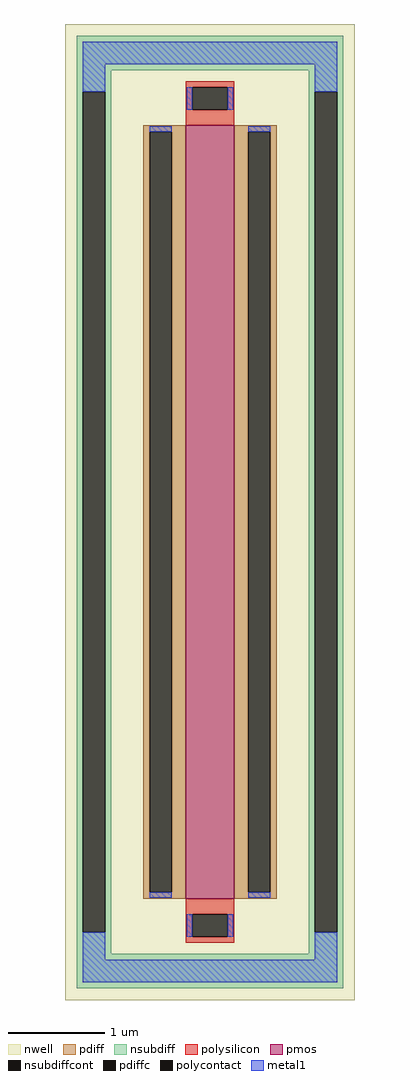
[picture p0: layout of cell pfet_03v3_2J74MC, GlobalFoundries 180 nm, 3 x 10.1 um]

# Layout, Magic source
magic
tech gf180mcuD
magscale 1 10
<< nwell >>
rect -300 -1010 300 1010
<< pmos >>
rect -50 -800 50 800
<< pdiff >>
rect -138 787 -50 800
rect -138 -787 -125 787
rect -79 -787 -50 787
rect -138 -800 -50 -787
rect 50 787 138 800
rect 50 -787 79 787
rect 125 -787 138 787
rect 50 -800 138 -787
<< pdiffc >>
rect -125 -787 -79 787
rect 79 -787 125 787
<< nsubdiff >>
rect -276 914 276 986
rect -276 870 -204 914
rect -276 -870 -263 870
rect -217 -870 -204 870
rect 204 870 276 914
rect -276 -914 -204 -870
rect 204 -870 217 870
rect 263 -870 276 870
rect 204 -914 276 -870
rect -276 -986 276 -914
<< nsubdiffcont >>
rect -263 -870 -217 870
rect 217 -870 263 870
<< polysilicon >>
rect -50 879 50 892
rect -50 833 -37 879
rect 37 833 50 879
rect -50 800 50 833
rect -50 -833 50 -800
rect -50 -879 -37 -833
rect 37 -879 50 -833
rect -50 -892 50 -879
<< polycontact >>
rect -37 833 37 879
rect -37 -879 37 -833
<< metal1 >>
rect -263 927 263 973
rect -263 870 -217 927
rect -48 833 -37 879
rect 37 833 48 879
rect 217 870 263 927
rect -125 787 -79 798
rect -125 -798 -79 -787
rect 79 787 125 798
rect 79 -798 125 -787
rect -263 -927 -217 -870
rect -48 -879 -37 -833
rect 37 -879 48 -833
rect 217 -927 263 -870
rect -263 -973 263 -927
<< properties >>
string FIXED_BBOX -240 -950 240 950
string gencell pfet_03v3
string library gf180mcu
string parameters w 8.0 l 0.5 m 1 nf 1 diffcov 100 polycov 100 guard 1 glc 1 grc 1 gtc 0 gbc 0 tbcov 100 rlcov 100 topc 1 botc 1 poverlap 0 doverlap 1 lmin 0.28 wmin 0.22 class mosfet full_metal 1 compatible {pfet_03v3 pfet_05v0 pfet_06v0} ad int((nf+1)/2)*W/nf*0.18u as int((nf+2)/2)*W/nf*0.18u pd 2*int((nf+1)/2)*(W/nf+0.18u) ps 2*int((nf+2)/2)*(W/nf+0.18u) nrd 0.18u/W nrs 0.18u/W sa 0 sb 0 sd 0
<< end >>
